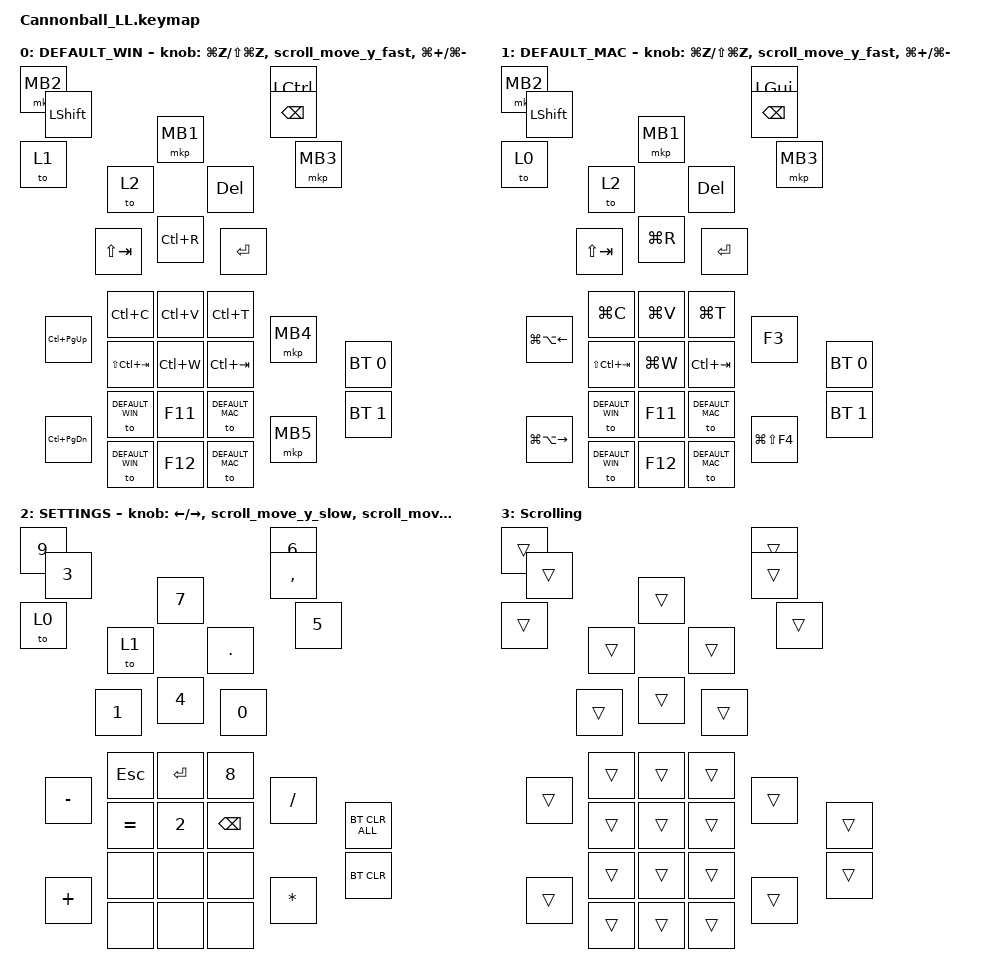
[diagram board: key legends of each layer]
#include <dt-bindings/zmk/input_transform.h>
#include <behaviors.dtsi>
#include <dt-bindings/zmk/bt.h>
#include <dt-bindings/zmk/keys.h>
#include <dt-bindings/zmk/pointing.h>

#define DEFAULT_WIN 0
#define DEFAULT_MAC 1
#define SCROLL 2

/ {
    /* Behaviors */
    // スクロール設定

    msc {
        acceleration-exponent = <0>;      // 0
        time-to-max-speed-ms = <200>;     // 300
        delay-ms = <5>;                   // 10
    };

    behaviors {
        // エンコーダー：キー

        rot_kp: sensor_rotate_kp {
            compatible = "zmk,behavior-sensor-rotate-var";
            #sensor-binding-cells = <2>;
            bindings = <&kp>, <&kp>;
        };

        // エンコーダー：マウススクロール 

        rot_msc: sensor_rotate_msc {
            compatible = "zmk,behavior-sensor-rotate-var";
            #sensor-binding-cells = <2>;
            tap-ms = <20>;
            bindings = <&msc>, <&msc>;
        };

        // エンコーダー：マウススクロール(MOVE_Y)

        scroll_move_y: sensor_rotate_msc_for_move_y {
            compatible = "zmk,behavior-sensor-rotate";
            #sensor-binding-cells = <0>;
            bindings = <&msc MOVE_Y(20)>, <&msc MOVE_Y(-20)>;

            // tap-ms下限メモ Yの値で可変: Y(15) <81>, Y(20) <65>, Y(25) <49>

            tap-ms = <65>;
        };

        // エンコーダー：マウススクロール(MOVE_Y) 少量

        scroll_move_y_slow: sensor_rotate_msc_for_move_y_slow {
            compatible = "zmk,behavior-sensor-rotate";
            #sensor-binding-cells = <0>;
            bindings = <&msc MOVE_Y(10)>, <&msc MOVE_Y(-10)>;

            tap-ms = <65>;
        };

        // エンコーダー：マウススクロール(MOVE_Y) 大量

        scroll_move_y_fast: sensor_rotate_msc_for_move_y_fast {
            compatible = "zmk,behavior-sensor-rotate";
            #sensor-binding-cells = <0>;
            bindings = <&msc MOVE_Y(40)>, <&msc MOVE_Y(-40)>;

            tap-ms = <65>;
        };

        // エンコーダー：マウススクロール(MOVE_X)

        scroll_move_x: sensor_rotate_msc_for_move_x {
            compatible = "zmk,behavior-sensor-rotate";
            #sensor-binding-cells = <0>;
            bindings = <&msc MOVE_X(20)>, <&msc MOVE_X(-20)>;

            // tap-ms下限メモ Xの値で可変: X(15) <81>, X(20) <65>, X(25) <49>

            tap-ms = <65>;
        };
    };

    /* キーマップ */

    keymap {
        compatible = "zmk,keymap";

        // WINDOWS用

        DEFAULT_WIN {
            bindings = <
&mkp MB2  &kp LCTRL  &kp LSHFT  &kp BSPC  &to 1  &mkp MB3  &to 2  &kp DEL  &mkp MB1  &kp LC(R)  &kp LS(TAB)  &kp RET  &kp LC(C)  &kp LC(V)  &kp LC(T)  &kp LS(LC(TAB))  &kp LC(W)  &kp LC(TAB)  &to DEFAULT_WIN  &kp F11  &to DEFAULT_MAC  &to DEFAULT_WIN  &kp F12  &to DEFAULT_MAC  &kp LC(PAGE_UP)  &kp LC(PAGE_DOWN)  &mkp MB4  &mkp MB5  &bt BT_SEL 0  &bt BT_SEL 1
            >;

            sensor-bindings =
                <&rot_kp LG(Z) LS(LG(Z))>,
                <&scroll_move_y_fast>,
                <&rot_kp LG(PLUS) LG(MINUS)>;
        };

        // MacOS用

        DEFAULT_MAC {
            bindings = <
&mkp MB2  &kp LGUI  &kp LSHFT  &kp BSPC  &to 0  &mkp MB3  &to 2  &kp DEL  &mkp MB1  &kp LG(R)  &kp LS(TAB)  &kp RET  &kp LG(C)  &kp LG(V)  &kp LG(T)  &kp LS(LC(TAB))  &kp LG(W)  &kp LC(TAB)  &to DEFAULT_WIN  &kp F11  &to DEFAULT_MAC  &to DEFAULT_WIN  &kp F12  &to DEFAULT_MAC  &kp LG(LA(LEFT_ARROW))  &kp LG(LA(RIGHT))  &kp F3  &kp LG(LS(F4))  &bt BT_SEL 0  &bt BT_SEL 1
            >;

            sensor-bindings =
                <&rot_kp LG(Z) LS(LG(Z))>,
                <&scroll_move_y_fast>,
                <&rot_kp LG(PLUS) LG(MINUS)>;
        };

        // BT設定、スクロールレイヤー

        SETTINGS {
            bindings = <
&kp N9  &kp NUMBER_6  &kp NUMBER_3  &kp COMMA  &to 0  &kp N5  &to 1  &kp PERIOD  &kp N7  &kp NUMBER_4  &kp NUMBER_1  &kp N0  &kp ESCAPE  &kp ENTER  &kp N8  &kp EQUAL  &kp NUMBER_2  &kp BACKSPACE  &none  &none  &none  &none  &none  &none  &kp MINUS  &kp PLUS  &kp SLASH  &kp ASTERISK  &bt BT_CLR_ALL  &bt BT_CLR
            >;

            sensor-bindings =
                <&rot_kp LEFT RIGHT>,
                <&scroll_move_y_slow>,
                <&scroll_move_x>;
        };

        Scrolling {
            bindings = <
&trans  &trans  &trans  &trans  &trans  &trans  &trans  &trans  &trans  &trans  &trans  &trans  &trans  &trans  &trans  &trans  &trans  &trans  &trans  &trans  &trans  &trans  &trans  &trans  &trans  &trans  &trans  &trans  &trans  &trans
            >;
        };
    };
};
